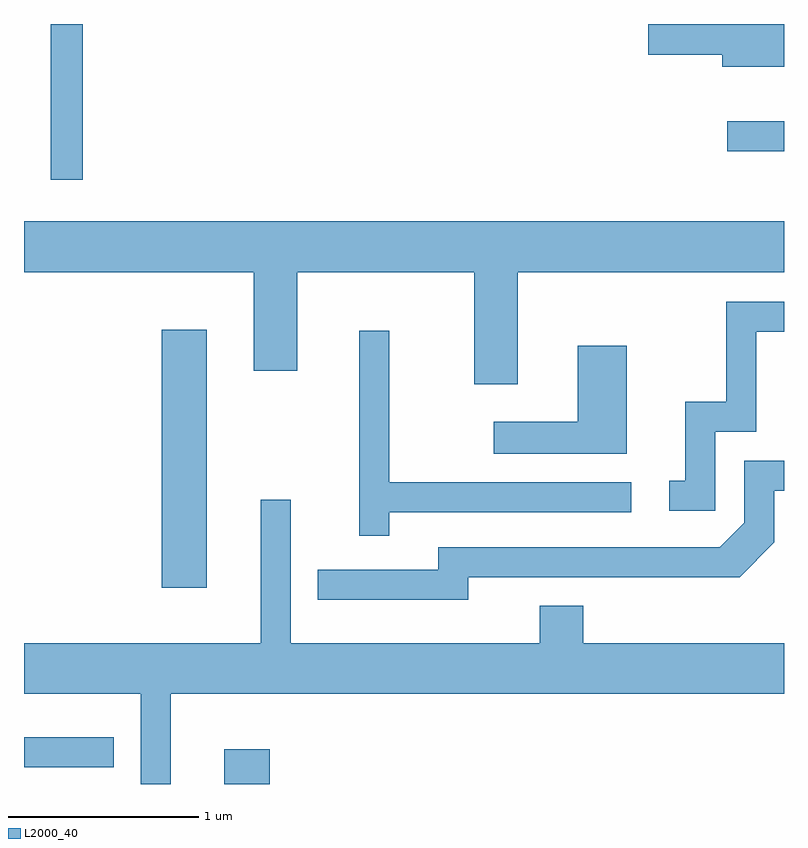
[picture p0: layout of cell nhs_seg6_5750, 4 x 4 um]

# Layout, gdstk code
import gdstk
lib = gdstk.Library(unit=1e-6, precision=1e-09)
def R(c, l, rs):  # rectangles x0, y0, x1, y1
    for r in rs: c.add(gdstk.rectangle(r[:2], r[2:], *l))
def P(c, l, *ps):  # polygons
    for p in ps: c.add(gdstk.Polygon(p, *l))
L2000_40 = (2000, 40)

nhs_seg6_5750 = lib.new_cell('nhs_seg6_5750')
R(nhs_seg6_5750, L2000_40, [(360.666,1616.162,360.904,1616.344), (359.611,1616.251,360.083,1616.409), (360.336,1617.196,360.574,1618.554), (359.751,1619.343,359.919,1620.162), (363.313,1619.491,363.611,1619.649)])
P(nhs_seg6_5750, L2000_40, [(363.611,1620.162),(362.896,1620.162),(362.896,1620.001),(363.286,1620.001),(363.286,1619.936),(363.611,1619.936)],
  [(362.209,1618.856),(363.611,1618.856),(363.611,1619.124),(359.611,1619.124),(359.611,1618.856),(360.821,1618.856),(360.821,1618.336),(361.049,1618.336),(361.049,1618.856),(361.981,1618.856),(361.981,1618.266),(362.209,1618.266)],
  [(363.249,1618.016),(363.464,1618.016),(363.464,1618.541),(363.611,1618.541),(363.611,1618.699),(363.306,1618.699),(363.306,1618.174),(363.091,1618.174),(363.091,1617.759),(363.008,1617.759),(363.008,1617.601),(363.249,1617.601)],
  [(361.534,1617.591),(362.808,1617.591),(362.808,1617.749),(361.534,1617.749),(361.534,1618.548),(361.376,1618.548),(361.376,1617.468),(361.534,1617.468)],
  [(362.784,1618.469),(362.526,1618.469),(362.526,1618.069),(362.083,1618.069),(362.083,1617.901),(362.784,1617.901)],
  [(361.949,1617.251),(363.377,1617.251),(363.559,1617.434),(363.559,1617.706),(363.611,1617.706),(363.611,1617.864),(363.401,1617.864),(363.401,1617.537),(363.274,1617.409),(361.791,1617.409),(361.791,1617.289),(361.158,1617.289),(361.158,1617.131),(361.949,1617.131)],
  [(360.384,1616.636),(363.611,1616.636),(363.611,1616.904),(362.554,1616.904),(362.554,1617.099),(362.326,1617.099),(362.326,1616.904),(361.014,1616.904),(361.014,1617.658),(360.856,1617.658),(360.856,1616.904),(359.611,1616.904),(359.611,1616.636),(360.226,1616.636),(360.226,1616.162),(360.384,1616.162)])

lib.write_gds('nhs_seg6_5750.gds')
